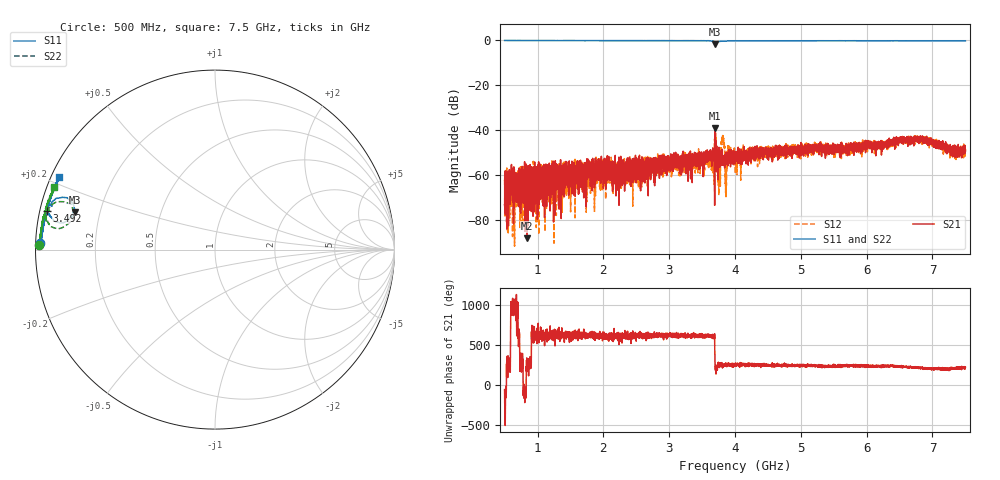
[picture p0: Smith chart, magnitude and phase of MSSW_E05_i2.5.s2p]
!Keysight Technologies,M9374A,MY55442783,A.12.55.05
!Date: Thursday, May 20, 2021 11:49:48
!Correction: S11(Full 2 Port(1,2))
!S21(Full 2 Port(1,2))
!S12(Full 2 Port(1,2))
!S22(Full 2 Port(1,2))
!S2P File: Measurements: S11, S21, S12, S22:
# Hz S  RI  R 50
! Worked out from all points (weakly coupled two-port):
!   7001 points, 500 MHz to 7.5 GHz, reference 50 ohm
!   highest |S21| = -39.10 dB at 3.699 GHz (marker M1); lowest = -88.0 dB at 837 MHz (marker M2)
!   lowest |S11| = -1.8 dB at 3.701 GHz (marker M3), VSWR 9.45, Z = 5.38 + j6.49 ohm
!   |S11| at or under -10 dB: nowhere
!   |S22| runs from -1.9 to -0.2 dB; largest |S21 - S12| = 0.014
!   S11 on the Smith chart (normalised r, x): 500 MHz: 0.01, +0.02; 3.492 GHz: 0.02, +0.11; 7.5 GHz: 0.02, +0.22
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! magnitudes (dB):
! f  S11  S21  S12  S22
! 500 MHz  -0.2  -73.1  -62.1  -0.2
! 542 MHz  -0.2  -62.5  -59.6  -0.2
! 596 MHz  -0.2  -58.6  -59.5  -0.2
! 668 MHz  -0.2  -66.1  -69.3  -0.2
! 837 MHz  -0.3  -88.0  -58.5  -0.2
! 1.667 GHz  -0.3  -55.8  -57.9  -0.2
! 2.091 GHz  -0.3  -54.9  -54.6  -0.2
! 2.166 GHz  -0.3  -57.3  -62.0  -0.2
! 2.834 GHz  -0.3  -53.2  -55.8  -0.2
! 3.492 GHz  -0.3  -50.5  -50.5  -0.3
! 3.649 GHz  -0.5  -55.1  -51.8  -0.4
! 3.699 GHz  -1.7  -39.1  -40.3  -1.7
! 3.701 GHz  -1.8  -42.2  -38.5  -1.8
! 3.747 GHz  -0.7  -52.9  -57.5  -0.6
! 3.816 GHz  -0.5  -55.6  -43.1  -0.5
! 3.862 GHz  -0.5  -55.2  -64.6  -0.4
! 3.915 GHz  -0.5  -49.6  -48.9  -0.4
! 4 GHz  -0.4  -53.5  -53.4  -0.4
! 5.167 GHz  -0.3  -49.2  -47.2  -0.3
! 6.334 GHz  -0.4  -45.2  -45.7  -0.3
! 6.77 GHz  -0.4  -44.4  -45.5  -0.3
! 7.5 GHz  -0.4  -49.4  -49.2  -0.4
